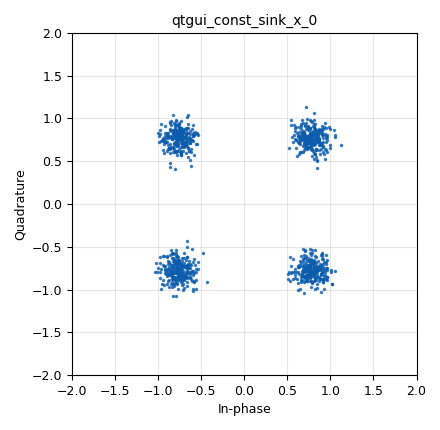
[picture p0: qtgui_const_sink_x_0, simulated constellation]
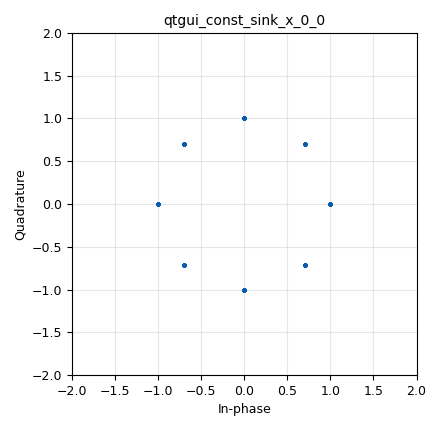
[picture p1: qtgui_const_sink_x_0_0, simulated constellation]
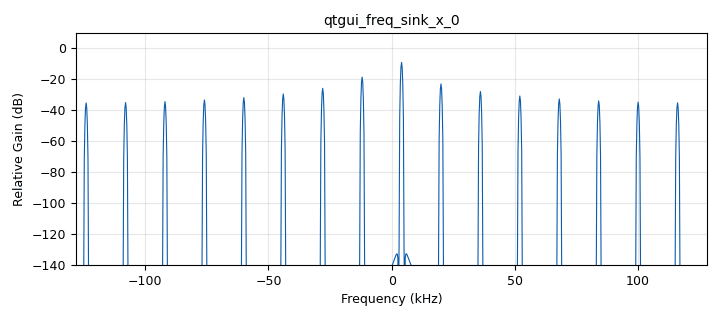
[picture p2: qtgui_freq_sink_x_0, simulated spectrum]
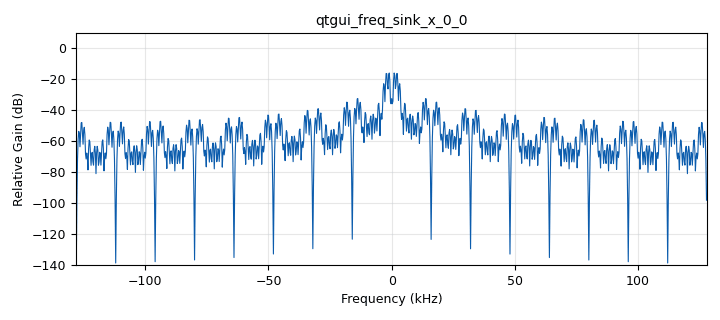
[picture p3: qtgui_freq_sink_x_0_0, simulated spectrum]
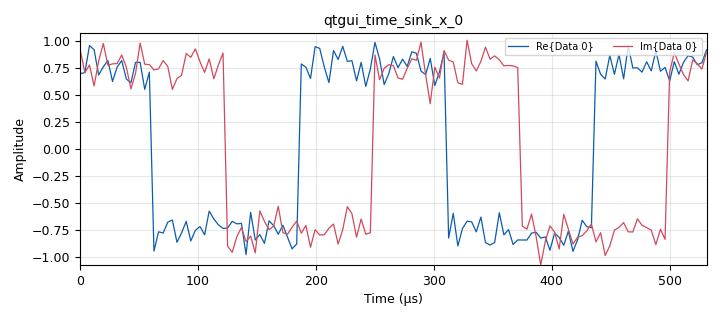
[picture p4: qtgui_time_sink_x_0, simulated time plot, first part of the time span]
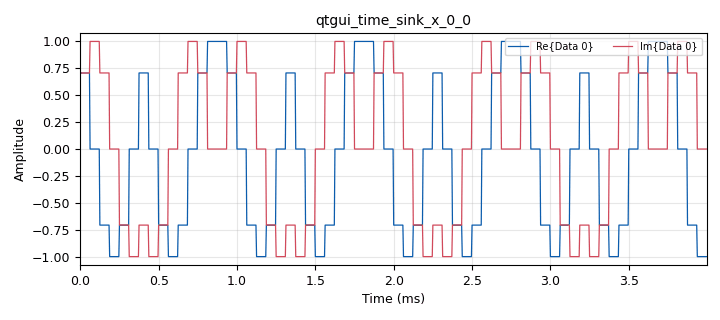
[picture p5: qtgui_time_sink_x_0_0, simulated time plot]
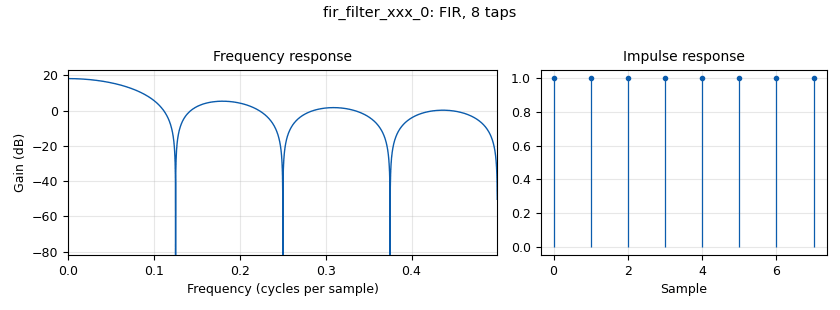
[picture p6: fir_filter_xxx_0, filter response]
options:
  parameters:
    generate_options: qt_gui
    id: QPSTX
    output_language: python
    title: Not titled yet
  states: {}

blocks:
- name: Amp
  id: variable_qtgui_range
  parameters:
    label: A_Noise
    start: '0'
    step: '0.02'
    stop: '1'
    value: '0'
  states: {}
- name: Bit_rate
  id: variable
  parameters:
    value: Rs*bpsim
  states: {}
- name: Bit_rate_0
  id: variable
  parameters:
    value: Rs*bpsim_1
  states: {}
- name: Freq
  id: variable_qtgui_range
  parameters:
    label: Filter Freq
    start: '0'
    step: '1000'
    stop: '200000'
    value: '0'
  states: {}
- name: M
  id: variable
  parameters:
    value: len(tabla_de_verdad)
  states: {}
- name: M_0
  id: variable
  parameters:
    value: len(tabla_de_verdad_2)
  states: {}
- name: Rs
  id: variable
  parameters:
    value: '32000'
  states: {}
- name: Rs_0
  id: variable
  parameters:
    value: '32000'
  states: {}
- name: bpsim
  id: variable
  parameters:
    value: math.log(M,2)
  states: {}
- name: bpsim_1
  id: variable
  parameters:
    value: math.log(M_0,2)
  states: {}
- name: h
  id: variable
  parameters:
    value: '[1]*sps'
  states: {}
- name: samp_rate
  id: variable
  parameters:
    value: sps*Rs
  states: {}
- name: samp_rate_0
  id: variable
  parameters:
    value: sps*Rs
  states: {}
- name: sps
  id: variable
  parameters:
    value: '8'
  states: {}
- name: tabla_de_verdad
  id: variable
  parameters:
    value: (0.77+0.77j,-0.77+0.77j,-0.77-0.77j,0.77-0.77j)
  states: {}
- name: tabla_de_verdad_2
  id: variable
  parameters:
    value: (1,np.sqrt(2)/2+np.sqrt(2)/2*1j,0+1j,-np.sqrt(2)/2+np.sqrt(2)/2*1j,-1,-np.sqrt(2)/2-np.sqrt(2)/2*1j,0-1j,np.sqrt(2)/2-np.sqrt(2)/2*1j)
  states: {}
- name: Menu
  id: qtgui_tab_widget
  parameters:
    label0: QPSK
    label1: 8PSK
    label2: Decod 8PSK
    label3: Decod QPSK
    num_tabs: '4'
  states: {}
- name: an_noise
  id: analog_noise_source_x
  parameters:
    amp: '0.15'
    noise_type: analog.GR_GAUSSIAN
    seed: '0'
    type: complex
  states: {}
- name: an_noise_0
  id: analog_noise_source_x
  parameters:
    amp: Amp
    noise_type: analog.GR_GAUSSIAN
    seed: '0'
    type: complex
  states: {}
- name: analog_random_source_x_0
  id: analog_random_source_x
  parameters:
    max: '2'
    min: '0'
    num_samps: '1000'
    repeat: 'True'
    type: byte
  states: {state: disabled}
- name: analog_random_source_x_0_0
  id: analog_random_source_x
  parameters:
    max: '2'
    min: '0'
    num_samps: '1000'
    repeat: 'True'
    type: byte
  states: {state: disabled}
- name: b_demod_constelacion_cb_0
  id: b_demod_constelacion_cb
  parameters:
    Constelacion: (1,np.sqrt(2)/2+np.sqrt(2)/2*1j,0+1j,-np.sqrt(2)/2+np.sqrt(2)/2*1j,-1,-np.sqrt(2)/2-np.sqrt(2)/2*1j,0-1j,np.sqrt(2)/2-np.sqrt(2)/2*1j)
  states: {}
- name: b_demod_constelacion_cb_0_0
  id: b_demod_constelacion_cb
  parameters:
    Constelacion: (0.77+0.77j,-0.77+0.77j,-0.77-0.77j,0.77-0.77j)
  states: {}
- name: blocks_add_xx_0
  id: blocks_add_xx
  parameters:
    type: complex
  states: {}
- name: blocks_add_xx_0_0
  id: blocks_add_xx
  parameters:
    type: complex
  states: {}
- name: blocks_char_to_float_0
  id: blocks_char_to_float
  parameters:
    scale: '1'
  states: {}
- name: blocks_char_to_float_0_0
  id: blocks_char_to_float
  parameters:
    scale: '1'
  states: {}
- name: blocks_pack_k_bits_bb_0
  id: blocks_pack_k_bits_bb
  parameters:
    k: '8'
  states: {state: disabled}
- name: blocks_pack_k_bits_bb_0_0
  id: blocks_pack_k_bits_bb
  parameters:
    k: '8'
  states: {state: disabled}
- name: blocks_packed_to_unpacked_xx_0
  id: blocks_packed_to_unpacked_xx
  parameters:
    bits_per_chunk: '2'
    endianness: gr.GR_MSB_FIRST
    type: byte
  states: {state: disabled}
- name: blocks_packed_to_unpacked_xx_0_0
  id: blocks_packed_to_unpacked_xx
  parameters:
    bits_per_chunk: '3'
    endianness: gr.GR_MSB_FIRST
    type: byte
  states: {state: disabled}
- name: blocks_unpacked_to_packed_xx_0
  id: blocks_unpacked_to_packed_xx
  parameters:
    bits_per_chunk: '8'
    endianness: gr.GR_MSB_FIRST
    type: byte
  states: {}
- name: blocks_unpacked_to_packed_xx_0_0
  id: blocks_unpacked_to_packed_xx
  parameters:
    bits_per_chunk: '8'
    endianness: gr.GR_MSB_FIRST
    type: byte
  states: {}
- name: blocks_vector_source_x_0
  id: blocks_vector_source_x
  parameters:
    repeat: 'True'
    tags: ''
    type: int
    vector: (0,0,1,1,2,2,3,3,4,4,5,5,6,6,7,7,6,6,5,5,4,4,3,3,2,2,1,1,0,0)
  states: {}
- name: blocks_vector_source_x_0_0
  id: blocks_vector_source_x
  parameters:
    repeat: 'True'
    tags: ''
    type: int
    vector: (0,0,1,1,2,2,3,3)
  states: {}
- name: digital_chunks_to_symbols_xx_0
  id: digital_chunks_to_symbols_xx
  parameters:
    dimension: '1'
    in_type: int
    out_type: complex
    symbol_table: tabla_de_verdad
  states: {}
- name: digital_chunks_to_symbols_xx_0_0
  id: digital_chunks_to_symbols_xx
  parameters:
    dimension: '1'
    in_type: int
    out_type: complex
    symbol_table: tabla_de_verdad_2
  states: {}
- name: fir_filter_xxx_0
  id: fir_filter_xxx
  parameters:
    decim: '8'
    taps: h
    type: ccc
  states: {}
- name: fir_filter_xxx_0_0
  id: fir_filter_xxx
  parameters:
    decim: '8'
    taps: h
    type: ccc
  states: {}
- name: import_0
  id: import
  parameters:
    imports: import math
  states: {}
- name: import_0_0
  id: import
  parameters:
    imports: import numpy as np
  states: {}
- name: interp_fir_filter_xxx_0
  id: interp_fir_filter_xxx
  parameters:
    interp: '8'
    taps: h
    type: ccc
  states: {}
- name: interp_fir_filter_xxx_0_0
  id: interp_fir_filter_xxx
  parameters:
    interp: sps
    taps: h
    type: ccc
  states: {}
- name: qtgui_const_sink_x_0
  id: qtgui_const_sink_x
  parameters:
    gui_hint: Menu@0:0,0,1,1
    size: '1024'
    type: complex
  states: {}
- name: qtgui_const_sink_x_0_0
  id: qtgui_const_sink_x
  parameters:
    gui_hint: Menu@1:0,0,1,1
    size: '1024'
    type: complex
  states: {}
- name: qtgui_freq_sink_x_0
  id: qtgui_freq_sink_x
  parameters:
    average: '0.05'
    bw: samp_rate
    fc: '0'
    fftsize: '1024'
    gui_hint: Menu@0:3,0,1,1
    type: complex
  states: {}
- name: qtgui_freq_sink_x_0_0
  id: qtgui_freq_sink_x
  parameters:
    average: '0.05'
    bw: samp_rate
    fc: '0'
    fftsize: '1024'
    gui_hint: Menu@1:3,0,1,1
    type: complex
  states: {}
- name: qtgui_time_sink_x_0
  id: qtgui_time_sink_x
  parameters:
    gui_hint: Menu@0:2,0,1,1
    size: '1024'
    srate: samp_rate
    type: complex
  states: {}
- name: qtgui_time_sink_x_0_0
  id: qtgui_time_sink_x
  parameters:
    gui_hint: Menu@1:2,0,1,1
    size: '1024'
    srate: samp_rate
    type: complex
  states: {}
- name: qtgui_time_sink_x_1
  id: qtgui_time_sink_x
  parameters:
    gui_hint: Menu@2:1,0,1,1
    marker1: '0'
    size: '1024'
    srate: samp_rate
    stemplot: 'True'
    style1: '3'
    type: float
  states: {}
- name: qtgui_time_sink_x_1_0
  id: qtgui_time_sink_x
  parameters:
    gui_hint: Menu@3:1,0,1,1
    size: '1024'
    srate: samp_rate
    type: float
  states: {}
- name: virtual_sink_0
  id: virtual_sink
  parameters:
    stream_id: p1
  states: {}
- name: virtual_sink_0_0
  id: virtual_sink
  parameters:
    stream_id: d1
  states: {}
- name: virtual_sink_1
  id: virtual_sink
  parameters:
    stream_id: p0
  states: {}
- name: virtual_sink_1_0
  id: virtual_sink
  parameters:
    stream_id: d0
  states: {}
- name: virtual_source_0
  id: virtual_source
  parameters:
    stream_id: p1
  states: {}
- name: virtual_source_0_0
  id: virtual_source
  parameters:
    stream_id: d1
  states: {}
- name: virtual_source_1
  id: virtual_source
  parameters:
    stream_id: p0
  states: {}
- name: virtual_source_1_0
  id: virtual_source
  parameters:
    stream_id: d1
  states: {}

connections:
- [an_noise, '0', blocks_add_xx_0, '1']
- [an_noise_0, '0', blocks_add_xx_0_0, '1']
- [analog_random_source_x_0, '0', blocks_pack_k_bits_bb_0, '0']
- [analog_random_source_x_0_0, '0', blocks_pack_k_bits_bb_0_0, '0']
- [b_demod_constelacion_cb_0, '0', blocks_unpacked_to_packed_xx_0, '0']
- [b_demod_constelacion_cb_0_0, '0', blocks_unpacked_to_packed_xx_0_0, '0']
- [blocks_add_xx_0, '0', virtual_sink_0, '0']
- [blocks_add_xx_0_0, '0', virtual_sink_0_0, '0']
- [blocks_char_to_float_0, '0', qtgui_time_sink_x_1, '0']
- [blocks_char_to_float_0_0, '0', qtgui_time_sink_x_1_0, '0']
- [blocks_pack_k_bits_bb_0, '0', blocks_packed_to_unpacked_xx_0, '0']
- [blocks_pack_k_bits_bb_0_0, '0', blocks_packed_to_unpacked_xx_0_0, '0']
- [blocks_packed_to_unpacked_xx_0, '0', digital_chunks_to_symbols_xx_0, '0']
- [blocks_packed_to_unpacked_xx_0_0, '0', digital_chunks_to_symbols_xx_0_0, '0']
- [blocks_unpacked_to_packed_xx_0, '0', blocks_char_to_float_0, '0']
- [blocks_unpacked_to_packed_xx_0_0, '0', blocks_char_to_float_0_0, '0']
- [blocks_vector_source_x_0, '0', digital_chunks_to_symbols_xx_0_0, '0']
- [blocks_vector_source_x_0_0, '0', digital_chunks_to_symbols_xx_0, '0']
- [digital_chunks_to_symbols_xx_0, '0', interp_fir_filter_xxx_0, '0']
- [digital_chunks_to_symbols_xx_0_0, '0', interp_fir_filter_xxx_0_0, '0']
- [fir_filter_xxx_0, '0', b_demod_constelacion_cb_0, '0']
- [fir_filter_xxx_0_0, '0', b_demod_constelacion_cb_0_0, '0']
- [interp_fir_filter_xxx_0, '0', blocks_add_xx_0, '0']
- [interp_fir_filter_xxx_0, '0', virtual_sink_1, '0']
- [interp_fir_filter_xxx_0_0, '0', blocks_add_xx_0_0, '0']
- [interp_fir_filter_xxx_0_0, '0', virtual_sink_1_0, '0']
- [virtual_source_0, '0', fir_filter_xxx_0_0, '0']
- [virtual_source_0, '0', qtgui_const_sink_x_0, '0']
- [virtual_source_0, '0', qtgui_time_sink_x_0, '0']
- [virtual_source_0_0, '0', qtgui_const_sink_x_0_0, '0']
- [virtual_source_0_0, '0', qtgui_time_sink_x_0_0, '0']
- [virtual_source_1, '0', qtgui_freq_sink_x_0, '0']
- [virtual_source_1_0, '0', fir_filter_xxx_0, '0']
- [virtual_source_1_0, '0', qtgui_freq_sink_x_0_0, '0']

metadata:
  file_format: 1
  grc_version: 3.10.5.1
